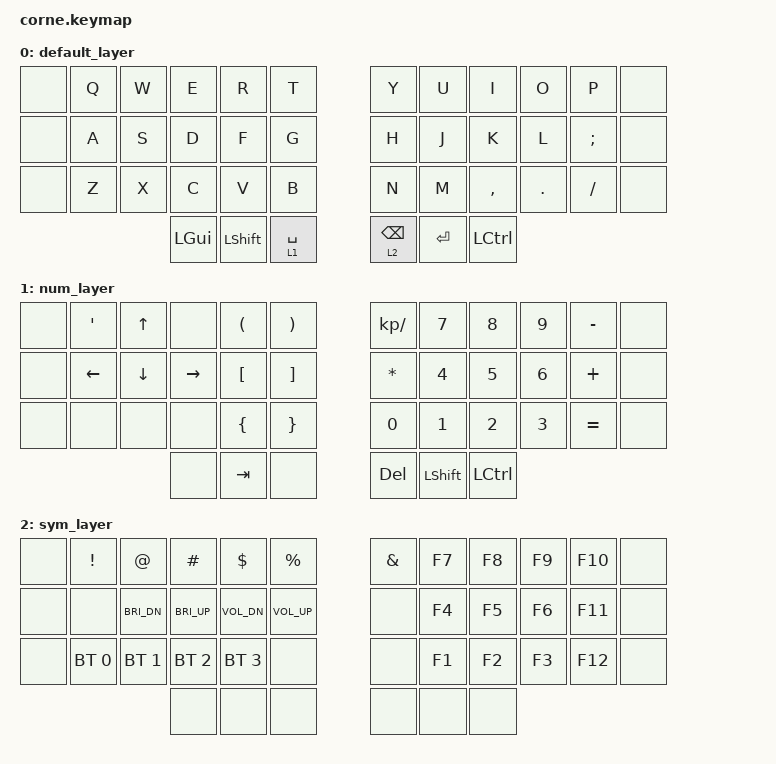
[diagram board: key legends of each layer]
#include <behaviors.dtsi>
#include <dt-bindings/zmk/keys.h>
#include <dt-bindings/zmk/bt.h>
#include <dt-bindings/zmk/outputs.h>

/ {
    combos {
        compatible = "zmk,combos";
        
        // Reset Bluetooth LADO ESQUERDO - Q + W + E + R (posições 1,2,3,4 com padding)
        bt_reset_left {
            bindings = <&bt BT_CLR_ALL>;
            key-positions = <1 2 3 4>;
            timeout-ms = <3000>;
            require-prior-idle-ms = <100>;
        };
        
        // Reset Bluetooth LADO DIREITO - P + O + I + U (posições 10,9,8,7 com padding)  
        bt_reset_right {
            bindings = <&bt BT_CLR_ALL>;
            key-positions = <10 9 8 7>;
            timeout-ms = <3000>;
            require-prior-idle-ms = <100>;
        };

        // Alternar TEMPORARIAMENTE para USB - A + S + D (posições 13,14,15 com padding)
        output_toggle {
            bindings = <&out OUT_TOG>;
            key-positions = <13 14 15>;
            timeout-ms = <2000>;
            require-prior-idle-ms = <100>;
        };

        // Windows + Tab (Task View) - E + R + T (posições 3,4,5)
        win_tab_combo {
            bindings = <&kp LG(TAB)>;
            key-positions = <3 4 5>;
            timeout-ms = <2000>;
            require-prior-idle-ms = <100>;
        };
        
        // Open Teriminal in code - / + . + T (posições 34, 33, 5)
        terminal_code_combo {
            bindings = <&kp LC(LS(GRAVE))>;
            key-positions = <34 33 5>;
            timeout-ms = <2000>;
            require-prior-idle-ms = <100>;
        };
        
        // CTRL button - Z + X (posições 25, 26)
        ctrl_combo {
            bindings = <&kp LCTRL>;
            key-positions = <25 26>;
            timeout-ms = <2000>;
            require-prior-idle-ms = <100>;
        };

        // ESC button - Q + W (posições 1, 2)
        esc_combo {
            bindings = <&kp ESC>;
            key-positions = <1 2>;
            timeout-ms = <2000>;
            require-prior-idle-ms = <100>;
        };

        
        // HOME - Y + U (posições 6, 7)
        home_combo {
            bindings = <&kp HOME>;
            key-positions = <6 7>;
            timeout-ms = <2000>;
            require-prior-idle-ms = <100>;
        };

        // END - H + J (posições 18, 19)
        end_combo {
            bindings = <&kp END>;
            key-positions = <18 19>;
            timeout-ms = <2000>;
            require-prior-idle-ms = <100>;
        };

    };    
    
    keymap {
        compatible = "zmk,keymap";

        // Base QWERTY Layer (5x3) com padding para shield 6x3
        default_layer {
            bindings = <
                &none   &kp Q   &kp W   &kp E      &kp R       &kp T         &kp Y        &kp U      &kp I       &kp O     &kp P       &none
                &none   &kp A   &kp S   &kp D      &kp F       &kp G         &kp H        &kp J      &kp K       &kp L     &kp SEMI    &none
                &none   &kp Z   &kp X   &kp C      &kp V       &kp B         &kp N        &kp M      &kp COMMA   &kp DOT   &kp SLASH   &none
                                        &kp LGUI   &kp LSHFT   &lt 1 SPACE   &lt 2 BSPC   &kp RET   &kp LCTRL
            >;
        };

        // Numbers Layer
        num_layer {
            bindings = <
                &none   &kp SQT    &kp UP     &none       &kp LPAR   &kp RPAR   &kp KP_SLASH   &kp N7      &kp N8      &kp N9   &kp MINUS   &none
                &none   &kp LEFT   &kp DOWN   &kp RIGHT   &kp LBKT   &kp RBKT   &kp STAR       &kp N4      &kp N5      &kp N6   &kp PLUS    &none
                &none   &none      &none      &none       &kp LBRC   &kp RBRC   &kp N0         &kp N1      &kp N2      &kp N3   &kp EQUAL   &none
                                              &none       &kp TAB    &none      &kp DELETE     &kp LSHFT   &kp LCTRL   
            >;
        };

        // Symbols Layer
        sym_layer {
            bindings = <
                &none   &kp EXCL       &kp AT         &kp HASH       &kp DOLLAR     &kp PERCENT    &kp AMPERSAND   &kp F7   &kp F8   &kp F9   &kp F10   &none
                &none   &none          &kp C_BRI_DN   &kp C_BRI_UP   &kp C_VOL_DN   &kp C_VOL_UP   &none           &kp F4   &kp F5   &kp F6   &kp F11   &none
                &none   &bt BT_SEL 0   &bt BT_SEL 1   &bt BT_SEL 2   &bt BT_SEL 3   &none          &none           &kp F1   &kp F2   &kp F3   &kp F12   &none
                                                      &none          &none          &none          &none           &none    &none
            >;
        };
    };
};
